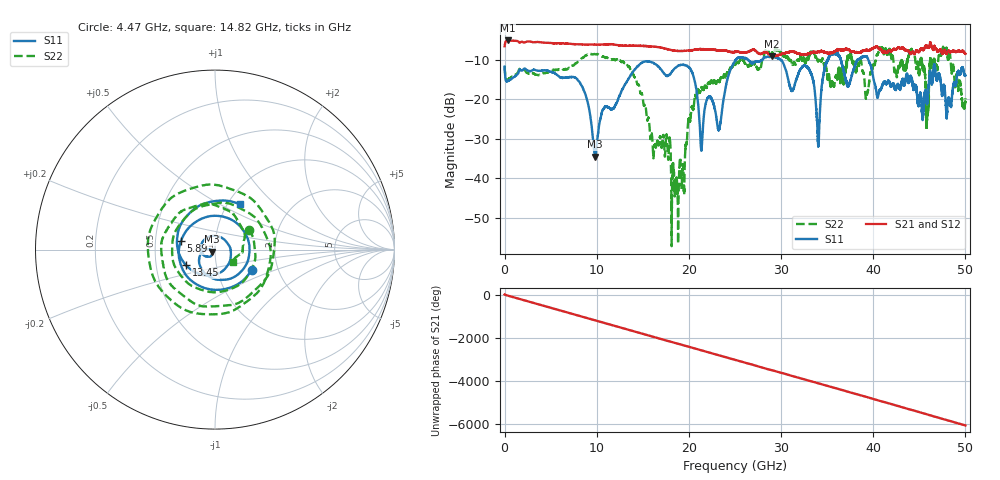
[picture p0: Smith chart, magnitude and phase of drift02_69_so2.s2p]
!Created with skrf (http://scikit-rf.org).
# Hz S RI R 50.0
!freq ReS11 ImS11 ReS21 ImS21 ReS12 ImS12 ReS22 ImS22
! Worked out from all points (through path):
!   10001 points, 300 kHz to 50 GHz, reference 50 ohm
!   highest |S21| = -5.04 dB at 325.3 MHz (marker M1); lowest = -9.0 dB at 29.05 GHz (marker M2)
!   group delay of S21, straight-line fit = 336 ps
!   lowest |S11| = -34.6 dB at 9.84 GHz (marker M3), VSWR 1.04, Z = 48.5 - j1.03 ohm
!   |S11| at or under -10 dB: start of sweep to 25.08 GHz; 29.98 GHz to 35.05 GHz (5.07 GHz wide, 15.6 % of centre); 39.48 GHz to end of sweep (the widest 3 of 6)
!   |S22| runs from -57.2 to -6.6 dB; largest |S21 - S12| = 0.023
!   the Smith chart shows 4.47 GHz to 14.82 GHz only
!   S11 on the Smith chart (normalised r, x): 4.47 GHz: 1.46, -0.35; 5.89 GHz: 0.68, +0.07; 13.45 GHz: 0.71, -0.13; 14.82 GHz: 1.13, +0.63
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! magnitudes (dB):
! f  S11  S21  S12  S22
! 300 kHz  -11.7  -6.5  -6.4  -11.5
! 325.3 MHz  -15.4  -5.0  -5.0  -15.1
! 4.47 GHz  -12.6  -5.6  -5.6  -13.2
! 5.89 GHz  -14.2  -5.7  -5.7  -12.5
! 8.335 GHz  -16.4  -6.0  -6.0  -9.6
! 9.84 GHz  -34.6  -6.1  -6.1  -8.5
! 13.45 GHz  -14.7  -6.4  -6.4  -11.6
! 14.82 GHz  -10.8  -6.4  -6.4  -18.5
! 16.67 GHz  -11.6  -6.7  -6.7  -31.2
! 18.66 GHz  -11.8  -7.7  -7.7  -40.8
! 20.37 GHz  -13.3  -7.5  -7.5  -21.9
! 21.37 GHz  -32.2  -7.2  -7.2  -16.9
! 23.31 GHz  -27.4  -7.6  -7.6  -15.6
! 25 GHz  -10.3  -8.0  -8.0  -11.2
! 29.05 GHz  -9.1  -9.0  -9.0  -8.2
! 33.34 GHz  -14.0  -8.1  -8.1  -8.1
! 34.02 GHz  -31.3  -7.9  -8.0  -10.4
! 35.5 GHz  -8.5  -8.1  -8.1  -15.4
! 41.67 GHz  -15.4  -7.7  -7.8  -7.4
! 45.85 GHz  -20.7  -6.6  -6.8  -21.5
! 47.77 GHz  -17.5  -7.6  -7.6  -7.4
! 50 GHz  -13.9  -8.4  -8.4  -20.0
